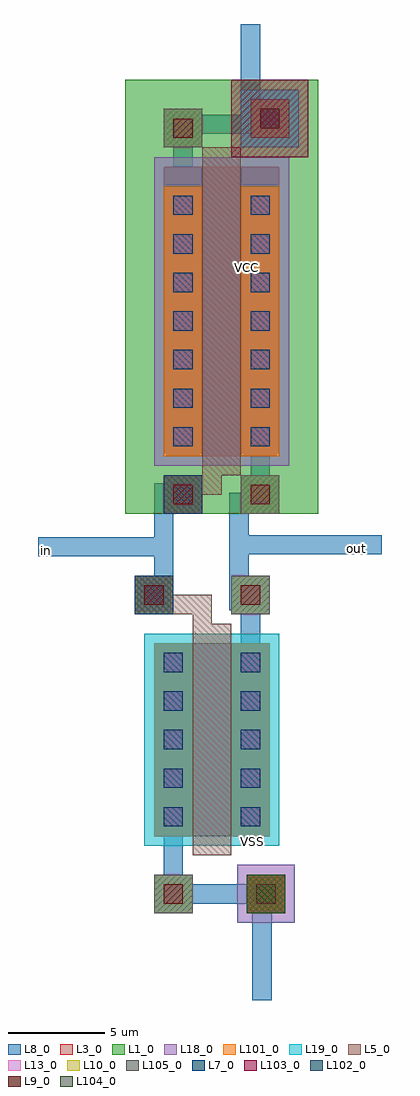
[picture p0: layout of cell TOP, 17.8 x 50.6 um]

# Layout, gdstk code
import gdstk
lib = gdstk.Library(unit=1e-6, precision=1e-07)
def R(c, l, rs):  # rectangles x0, y0, x1, y1
    for r in rs: c.add(gdstk.rectangle(r[:2], r[2:], *l))
L1_0 = (1, 0)
L3_0 = (3, 0)
L5_0 = (5, 0)
L7_0 = (7, 0)
L8_0 = (8, 0)
L9_0 = (9, 0)
L10_0 = (10, 0)
L13_0 = (13, 0)
L18_0 = (18, 0)
L19_0 = (19, 0)
L101_0 = (101, 0)
L102_0 = (102, 0)
L103_0 = (103, 0)
L104_0 = (104, 0)
L105_0 = (105, 0)

dcont = lib.new_cell('dcont')
R(dcont, L3_0, [(-1,-1,1,1)])
R(dcont, L7_0, [(-0.5,-0.5,0.5,0.5)])
R(dcont, L8_0, [(-1,-1,1,1)])
R(dcont, L13_0, [(-0.5,-0.5,0.5,0.5)])
R(dcont, L101_0, [(-1,-1,1,1)])

pcont = lib.new_cell('pcont')
R(pcont, L5_0, [(-1,-1,1,1)])
R(pcont, L7_0, [(-0.5,-0.5,0.5,0.5)])
R(pcont, L8_0, [(-1,-1,1,1)])
R(pcont, L13_0, [(-0.5,-0.5,0.5,0.5)])
R(pcont, L102_0, [(-1,-1,1,1)])

via = lib.new_cell('Via')
R(via, L8_0, [(-1,-1,1,1)])
R(via, L9_0, [(-0.5,-0.5,0.5,0.5)])
R(via, L10_0, [(-1,-1,1,1)])
R(via, L13_0, [(-0.5,-0.5,0.5,0.5)])
R(via, L105_0, [(-1,-1,1,1)])

dcont1 = lib.new_cell('dcont1')
R(dcont1, L3_0, [(-1,-1,1,1)])
R(dcont1, L7_0, [(-0.5,-0.5,0.5,0.5)])
R(dcont1, L8_0, [(-1,-1,1,1)])
R(dcont1, L13_0, [(-0.5,-0.5,0.5,0.5)])
R(dcont1, L101_0, [(-1,-1,1,1)])

nsubcont = lib.new_cell('nsubcont')
R(nsubcont, L1_0, [(-2,-2,2,2)])
R(nsubcont, L19_0, [(-1.5,-1.5,1.5,1.5)])
R(nsubcont, L103_0, [(-2,-2,2,2)])
nsubcont.add(gdstk.Reference(dcont1, (0,0)))

pch = lib.new_cell('Pch')
R(pch, L1_0, [(-2,0,8,22.5)])
R(pch, L3_0, [(0,3,6,18)])
R(pch, L18_0, [(-0.5,2.5,6.5,18.5)])
pch.add(gdstk.FlexPath([(1,3),(1,18)], 2, ends="flush", simple_path=True, layer=8, datatype=0))  # L8_0
pch.add(gdstk.FlexPath([(5,3),(5,18)], 2, ends="flush", simple_path=True, layer=8, datatype=0))  # L8_0
pch.add(gdstk.FlexPath([(1,17),(1,20)], 1, ends="flush", simple_path=True, layer=8, datatype=0))  # L8_0
pch.add(gdstk.FlexPath([(5,1),(5,4)], 1, ends="flush", simple_path=True, layer=8, datatype=0))  # L8_0
pch.add(gdstk.FlexPath([(3,3),(3,18)], 2, ends="extended", simple_path=True, layer=5, datatype=0))  # L5_0
pch.add(gdstk.FlexPath([(1,1.5),(2.5,1.5),(2.5,2)], 1, ends="flush", simple_path=True, layer=5, datatype=0))  # L5_0
pch.add(gdstk.Reference(dcont, (1,4)))
pch.add(gdstk.Reference(dcont, (1,6)))
pch.add(gdstk.Reference(dcont, (1,8)))
pch.add(gdstk.Reference(dcont, (1,10)))
pch.add(gdstk.Reference(dcont, (1,12)))
pch.add(gdstk.Reference(dcont, (1,14)))
pch.add(gdstk.Reference(dcont, (1,16)))
pch.add(gdstk.Reference(dcont, (5,4)))
pch.add(gdstk.Reference(dcont, (5,6)))
pch.add(gdstk.Reference(dcont, (5,8)))
pch.add(gdstk.Reference(dcont, (5,10)))
pch.add(gdstk.Reference(dcont, (5,12)))
pch.add(gdstk.Reference(dcont, (5,14)))
pch.add(gdstk.Reference(dcont, (5,16)))
pch.add(gdstk.Reference(pcont, (1,1)))
pch.add(gdstk.Reference(via, (1,1)))
pch.add(gdstk.Reference(via, (1,20)))
pch.add(gdstk.Reference(via, (5,1)))
pch.add(gdstk.Reference(nsubcont, (5.5,20.5)))
pch.add(gdstk.Reference(via, (5.5,20.5)))

psubcont = lib.new_cell('psubcont')
R(psubcont, L18_0, [(-1.5,-1.5,1.5,1.5)])
R(psubcont, L104_0, [(-1,-1,1,1)])
psubcont.add(gdstk.Reference(dcont1, (0,0)))

nch_1 = lib.new_cell('Nch$1')
R(nch_1, L3_0, [(0,3,6,13)])
R(nch_1, L19_0, [(-0.5,2.5,6.5,13.5)])
nch_1.add(gdstk.FlexPath([(1,3),(1,13)], 2, ends="flush", simple_path=True, layer=8, datatype=0))  # L8_0
nch_1.add(gdstk.FlexPath([(5,3),(5,13)], 2, ends="flush", simple_path=True, layer=8, datatype=0))  # L8_0
nch_1.add(gdstk.FlexPath([(1,0),(1,4)], 1, ends="flush", simple_path=True, layer=8, datatype=0))  # L8_0
nch_1.add(gdstk.FlexPath([(5,11),(5,15)], 1, ends="flush", simple_path=True, layer=8, datatype=0))  # L8_0
nch_1.add(gdstk.FlexPath([(3,3),(3,13)], 2, ends="extended", simple_path=True, layer=5, datatype=0))  # L5_0
nch_1.add(gdstk.FlexPath([(0,15),(2.5,15),(2.5,14)], 1, ends="flush", simple_path=True, layer=5, datatype=0))  # L5_0
nch_1.add(gdstk.Reference(dcont, (1,4)))
nch_1.add(gdstk.Reference(dcont, (1,6)))
nch_1.add(gdstk.Reference(dcont, (1,8)))
nch_1.add(gdstk.Reference(dcont, (1,10)))
nch_1.add(gdstk.Reference(dcont, (1,12)))
nch_1.add(gdstk.Reference(dcont, (5,4)))
nch_1.add(gdstk.Reference(dcont, (5,6)))
nch_1.add(gdstk.Reference(dcont, (5,8)))
nch_1.add(gdstk.Reference(dcont, (5,10)))
nch_1.add(gdstk.Reference(dcont, (5,12)))
nch_1.add(gdstk.Reference(pcont, (0,15.5)))
nch_1.add(gdstk.Reference(via, (0,15.5)))
nch_1.add(gdstk.Reference(via, (1,0)))
nch_1.add(gdstk.Reference(via, (5,15.5)))
nch_1.add(gdstk.Reference(psubcont, (5.8,0)))
nch_1.add(gdstk.Reference(via, (5.8,0)))

top = lib.new_cell('TOP')
top.add(gdstk.FlexPath([(4,2.8),(8.1,2.8),(8.1,-2.7),(8.1,-2.7)], 1, ends="flush", simple_path=True, layer=8, datatype=0))  # L8_0
top.add(gdstk.FlexPath([(7.5,47.9),(7.5,42.7),(3.8,42.7),(3.8,42.7)], 1, ends="flush", simple_path=True, layer=8, datatype=0))  # L8_0
top.add(gdstk.FlexPath([(3,18.4),(3,23.6),(4.4,23.6)], 1, ends="flush", simple_path=True, layer=8, datatype=0))  # L8_0
top.add(gdstk.FlexPath([(6.9,23.6),(6.9,18),(7.1,18)], 1, ends="flush", simple_path=True, layer=8, datatype=0))  # L8_0
top.add(gdstk.FlexPath([(6.9,20.9),(14.3,20.9)], 1, ends="flush", simple_path=True, layer=8, datatype=0))  # L8_0
top.add(gdstk.FlexPath([(3,20.8),(-3.5,20.8)], 1, ends="flush", simple_path=True, layer=8, datatype=0))  # L8_0
top.add(gdstk.Reference(pch, (3,22.5)))
top.add(gdstk.Reference(nch_1, (2.5,2.8)))
top.add(gdstk.Label('VCC', (7.3,35.3), layer=8, texttype=0))
top.add(gdstk.Label('in', (-3.1,20.6), layer=8, texttype=0))
top.add(gdstk.Label('out', (13,20.7), layer=8, texttype=0))
top.add(gdstk.Label('VSS', (7.6,5.5), layer=8, texttype=0))

lib.write_gds('TOP.gds')
